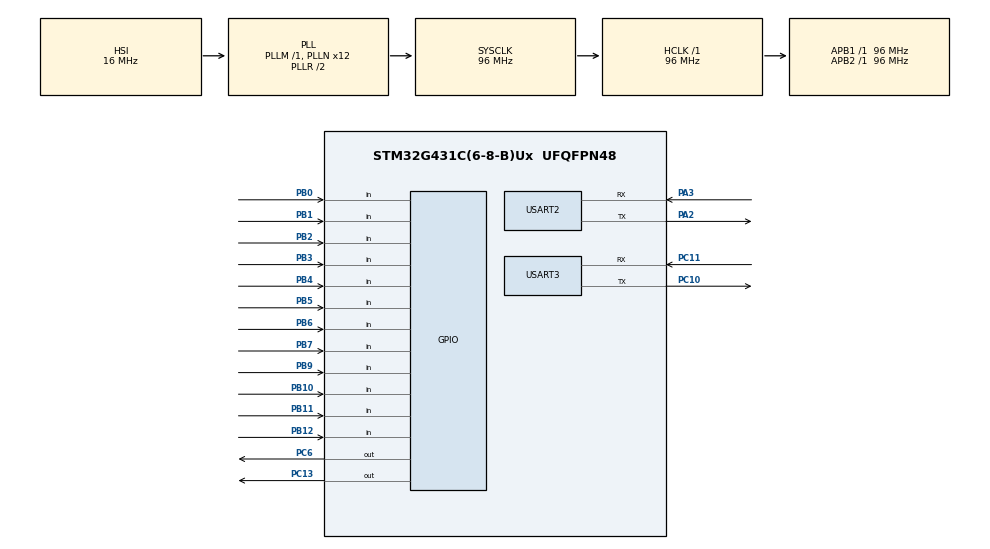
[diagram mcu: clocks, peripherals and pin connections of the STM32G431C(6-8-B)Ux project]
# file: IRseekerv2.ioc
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Mcu.Family=STM32G4
Mcu.Name=STM32G431C(6-8-B)Ux
Mcu.Package=UFQFPN48
NVIC.PriorityGroup=NVIC_PRIORITYGROUP_4
PA13.Mode=Serial_Wire
PA13.Signal=SYS_JTMS-SWDIO
PA14.Mode=Serial_Wire
PA14.Signal=SYS_JTCK-SWCLK
PA2.Mode=Asynchronous
PA2.Signal=USART2_TX
PA3.Mode=Asynchronous
PA3.Signal=USART2_RX
PB0.Signal=GPIO_Input
PB1.Signal=GPIO_Input
PB10.Signal=GPIO_Input
PB11.Signal=GPIO_Input
PB12.Signal=GPIO_Input
PB2.Signal=GPIO_Input
PB3.Signal=GPIO_Input
PB4.Signal=GPIO_Input
PB5.Signal=GPIO_Input
PB6.Signal=GPIO_Input
PB7.Signal=GPIO_Input
PB9.Signal=GPIO_Input
PC10.Mode=Asynchronous
PC10.Signal=USART3_TX
PC11.Mode=Asynchronous
PC11.Signal=USART3_RX
PC13.Signal=GPIO_Output
PC14-OSC32_IN.Mode=LSE-External-Oscillator
PC14-OSC32_IN.Signal=RCC_OSC32_IN
PC15-OSC32_OUT.Mode=LSE-External-Oscillator
PC15-OSC32_OUT.Signal=RCC_OSC32_OUT
PC6.Signal=GPIO_Output
PF0-OSC_IN.Mode=HSE-External-Oscillator
PF0-OSC_IN.Signal=RCC_OSC_IN
PF1-OSC_OUT.Mode=HSE-External-Oscillator
PF1-OSC_OUT.Signal=RCC_OSC_OUT
ProjectManager.HeapSize=0x200
ProjectManager.StackSize=0x400
ProjectManager.TargetToolchain=STM32CubeIDE
RCC.ADC12Freq_Value=96000000
RCC.AHBFreq_Value=96000000
RCC.APB1Freq_Value=96000000
RCC.APB1TimFreq_Value=96000000
RCC.APB2Freq_Value=96000000
RCC.APB2TimFreq_Value=96000000
RCC.CortexFreq_Value=96000000
RCC.EXTERNAL_CLOCK_VALUE=12288000
RCC.HCLKFreq_Value=96000000
RCC.HSE_VALUE=8000000
RCC.HSI48_VALUE=48000000
RCC.HSI_VALUE=16000000
RCC.PLLN=12
RCC.SYSCLKFreq_VALUE=96000000
RCC.SYSCLKSource=RCC_SYSCLKSOURCE_PLLCLK
RCC.USBFreq_Value=96000000
RCC.VCOOutputFreq_Value=192000000
TIM1.Prescaler=95
USART2.VirtualMode-Asynchronous=VM_ASYNC
USART3.VirtualMode-Asynchronous=VM_ASYNC
VP_TIM1_VS_ClockSourceINT.Mode=Internal
board=custom

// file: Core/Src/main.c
/* USER CODE BEGIN Header */
/**
  ******************************************************************************
  * @file           : main.c
  * @brief          : Main program body
  ******************************************************************************
  * @attention
  *
  * Copyright (c) 2023 STMicroelectronics.
  * All rights reserved.
  *
  * This software is licensed under terms that can be found in the LICENSE file
  * in the root directory of this software component.
  * If no LICENSE file comes with this software, it is provided AS-IS.
  *
  ******************************************************************************
  */
/* USER CODE END Header */
#include "main.h"

/* USER CODE BEGIN Includes */
#include "moving_average.h"
/* USER CODE END Includes */

/* USER CODE BEGIN PD */

#define NUM_READING 1000

/* USER CODE END PD */

TIM_HandleTypeDef htim1;

UART_HandleTypeDef huart2;
UART_HandleTypeDef huart3;

void SystemClock_Config(void);
static void MX_GPIO_Init(void);
static void MX_USART2_UART_Init(void);
static void MX_USART3_UART_Init(void);
static void MX_TIM1_Init(void);

/* USER CODE BEGIN 0 */
uint8_t result[1];
uint32_t inputs[12];

uint32_t masks[] = {
		  0, // 0
		  1, // 1
		  2, // 2
		  3, // 3
		  4, // 4
		  5, // 5
		  6, // 6
		  7, // 7
		  9, // 8
		  10,// 9
		  11,//10
		  12,//11
};

/*uint16_t idx=0;

uint16_t adc_readings[NUM_READING]={0};
uint16_t moving_average;*/

volatile uint32_t ADCValue = 0;
uint32_t ADCValueFiltered = 0;
FilterTypeDef filterStruct;

void reset_inputs(){
	for(int i=0;i<12;i++){
		inputs[i] = 0;
	}
}
void read_inputs(){

	uwTick = 0;

	while(uwTick <4){
		uint32_t value =  (GPIOB->IDR & 0b0001111011111111);

		for(int i=0;i<12;i++){

			inputs[i] += 1 - ((value & (1 << masks[i])) >> masks[i]);
		}
	}

}

uint8_t find_max(){

	uint8_t c = 0;
	uint32_t current_max = 0;
	for(uint8_t i=0;i<12;i++){

		if(inputs[i] > current_max){
			c = i+1;
			current_max = inputs[i];

		}
	}

	return c;
}

/*uint8_t calculate_average(uint8_t current_position) {
    uint16_t oldest_value = adc_readings[idx]; //grab the value we're about to overwrite
    uint16_t new_value = (uint16_t) current_position; //read whatever register you need to get the ADC reading
    moving_average = ((100 * moving_average) - oldest_value + new_value) / 100; //this is the shortcut trick!
    adc_readings[idx] = new_value;
    if (idx++ > NUM_READING){
    	idx = 0;
    }
    return (uint8_t) moving_average;
}
*/

/* USER CODE END 0 */

int main(void)
{
  /* USER CODE BEGIN 1 */
	/*for(int i = 0;i < NUM_READING; i ++){
		adc_readings[i] = 0;
	}*/
	Moving_Average_Init(&filterStruct);
  /* USER CODE END 1 */

  /* MCU Configuration--------------------------------------------------------*/

  /* Reset of all peripherals, Initializes the Flash interface and the Systick. */
  HAL_Init();

  /* Configure the system clock */
  SystemClock_Config();

  /* Initialize all configured peripherals */
  MX_GPIO_Init();
  MX_USART2_UART_Init();
  MX_USART3_UART_Init();
  MX_TIM1_Init();

  /* Infinite loop */
  /* USER CODE BEGIN WHILE */
  HAL_GPIO_WritePin(GPIOC, GPIO_PIN_6, GPIO_PIN_RESET);
  HAL_Delay(200);
  HAL_GPIO_WritePin(GPIOC, GPIO_PIN_6, GPIO_PIN_RESET);
  HAL_Delay(200);
  HAL_GPIO_WritePin(GPIOC, GPIO_PIN_6, GPIO_PIN_SET);
  HAL_Delay(200);
  uint32_t t = 0;
  for(int x = 0;x<12;x++){
	  t += 1 << masks[x];
  }
  while (1)
  {
	  	reset_inputs();
	  	read_inputs();

	  	//uint8_t current_average_position = calculate_average(current_position);
	  	uint8_t current_position = find_max();
	  	uint8_t current_average_position = (uint8_t)Moving_Average_Compute((uint32_t)current_position, &filterStruct);
	  	result[0] = current_average_position;
		//uint32_t value =  (HAL_GPIO_ReadPin(GPIOB, GPIO_PIN_0));// | (HAL_GPIO_ReadPin(GPIOA, GPIO_PIN_0) << 1);
		//GPIOA->IDR & 0b0000111111111111;
		//inputs = (value & 0b1);
		/*result[0] = inputs[0];
		if(inputs[0] == 0){
			HAL_GPIO_WritePin(GPIOC, GPIO_PIN_6, GPIO_PIN_RESET);
		}else{
			HAL_GPIO_WritePin(GPIOC, GPIO_PIN_6, GPIO_PIN_SET);
		}*/

		//result[1] = (value & 0x0000ff00) >> 8;
		//HAL_GPIO_TogglePin(GPIOC, GPIO_PIN_13);
	  	//uint32_t tmilis =  HAL_GetTick();//TIM1->CNT;
	  	HAL_UART_Transmit(&huart2,result,sizeof(result),10);// Sending in normal mode
    /* USER CODE END WHILE */

  }
}

void SystemClock_Config(void)
{
  RCC_OscInitTypeDef RCC_OscInitStruct = {0};
  RCC_ClkInitTypeDef RCC_ClkInitStruct = {0};

  /** Configure the main internal regulator output voltage
  */
  HAL_PWREx_ControlVoltageScaling(PWR_REGULATOR_VOLTAGE_SCALE1);

  /** Initializes the RCC Oscillators according to the specified parameters
  * in the RCC_OscInitTypeDef structure.
  */
  RCC_OscInitStruct.OscillatorType = RCC_OSCILLATORTYPE_HSI;
  RCC_OscInitStruct.HSIState = RCC_HSI_ON;
  RCC_OscInitStruct.HSICalibrationValue = RCC_HSICALIBRATION_DEFAULT;
  RCC_OscInitStruct.PLL.PLLState = RCC_PLL_ON;
  RCC_OscInitStruct.PLL.PLLSource = RCC_PLLSOURCE_HSI;
  RCC_OscInitStruct.PLL.PLLM = RCC_PLLM_DIV1;
  RCC_OscInitStruct.PLL.PLLN = 12;
  RCC_OscInitStruct.PLL.PLLP = RCC_PLLP_DIV2;
  RCC_OscInitStruct.PLL.PLLQ = RCC_PLLQ_DIV2;
  RCC_OscInitStruct.PLL.PLLR = RCC_PLLR_DIV2;
  if (HAL_RCC_OscConfig(&RCC_OscInitStruct) != HAL_OK)
  {
    Error_Handler();
  }

  /** Initializes the CPU, AHB and APB buses clocks
  */
  RCC_ClkInitStruct.ClockType = RCC_CLOCKTYPE_HCLK|RCC_CLOCKTYPE_SYSCLK
                              |RCC_CLOCKTYPE_PCLK1|RCC_CLOCKTYPE_PCLK2;
  RCC_ClkInitStruct.SYSCLKSource = RCC_SYSCLKSOURCE_PLLCLK;
  RCC_ClkInitStruct.AHBCLKDivider = RCC_SYSCLK_DIV1;
  RCC_ClkInitStruct.APB1CLKDivider = RCC_HCLK_DIV1;
  RCC_ClkInitStruct.APB2CLKDivider = RCC_HCLK_DIV1;

  if (HAL_RCC_ClockConfig(&RCC_ClkInitStruct, FLASH_LATENCY_3) != HAL_OK)
  {
    Error_Handler();
  }
}

static void MX_TIM1_Init(void)
{

  TIM_ClockConfigTypeDef sClockSourceConfig = {0};
  TIM_MasterConfigTypeDef sMasterConfig = {0};

  htim1.Instance = TIM1;
  htim1.Init.Prescaler = 95;
  htim1.Init.CounterMode = TIM_COUNTERMODE_UP;
  htim1.Init.Period = 65535;
  htim1.Init.ClockDivision = TIM_CLOCKDIVISION_DIV1;
  htim1.Init.RepetitionCounter = 0;
  htim1.Init.AutoReloadPreload = TIM_AUTORELOAD_PRELOAD_DISABLE;
  if (HAL_TIM_Base_Init(&htim1) != HAL_OK)
  {
    Error_Handler();
  }
  sClockSourceConfig.ClockSource = TIM_CLOCKSOURCE_INTERNAL;
  if (HAL_TIM_ConfigClockSource(&htim1, &sClockSourceConfig) != HAL_OK)
  {
    Error_Handler();
  }
  sMasterConfig.MasterOutputTrigger = TIM_TRGO_RESET;
  sMasterConfig.MasterOutputTrigger2 = TIM_TRGO2_RESET;
  sMasterConfig.MasterSlaveMode = TIM_MASTERSLAVEMODE_DISABLE;
  if (HAL_TIMEx_MasterConfigSynchronization(&htim1, &sMasterConfig) != HAL_OK)
  {
    Error_Handler();
  }

}

static void MX_USART2_UART_Init(void)
{

  huart2.Instance = USART2;
  huart2.Init.BaudRate = 115200;
  huart2.Init.WordLength = UART_WORDLENGTH_8B;
  huart2.Init.StopBits = UART_STOPBITS_1;
  huart2.Init.Parity = UART_PARITY_NONE;
  huart2.Init.Mode = UART_MODE_TX_RX;
  huart2.Init.HwFlowCtl = UART_HWCONTROL_NONE;
  huart2.Init.OverSampling = UART_OVERSAMPLING_16;
  huart2.Init.OneBitSampling = UART_ONE_BIT_SAMPLE_DISABLE;
  huart2.Init.ClockPrescaler = UART_PRESCALER_DIV1;
  huart2.AdvancedInit.AdvFeatureInit = UART_ADVFEATURE_NO_INIT;
  if (HAL_UART_Init(&huart2) != HAL_OK)
  {
    Error_Handler();
  }
  if (HAL_UARTEx_SetTxFifoThreshold(&huart2, UART_TXFIFO_THRESHOLD_1_8) != HAL_OK)
  {
    Error_Handler();
  }
  if (HAL_UARTEx_SetRxFifoThreshold(&huart2, UART_RXFIFO_THRESHOLD_1_8) != HAL_OK)
  {
    Error_Handler();
  }
  if (HAL_UARTEx_DisableFifoMode(&huart2) != HAL_OK)
  {
    Error_Handler();
  }

}

static void MX_USART3_UART_Init(void)
{

  huart3.Instance = USART3;
  huart3.Init.BaudRate = 115200;
  huart3.Init.WordLength = UART_WORDLENGTH_8B;
  huart3.Init.StopBits = UART_STOPBITS_1;
  huart3.Init.Parity = UART_PARITY_NONE;
  huart3.Init.Mode = UART_MODE_TX_RX;
  huart3.Init.HwFlowCtl = UART_HWCONTROL_NONE;
  huart3.Init.OverSampling = UART_OVERSAMPLING_16;
  huart3.Init.OneBitSampling = UART_ONE_BIT_SAMPLE_DISABLE;
  huart3.Init.ClockPrescaler = UART_PRESCALER_DIV1;
  huart3.AdvancedInit.AdvFeatureInit = UART_ADVFEATURE_NO_INIT;
  if (HAL_UART_Init(&huart3) != HAL_OK)
  {
    Error_Handler();
  }
  if (HAL_UARTEx_SetTxFifoThreshold(&huart3, UART_TXFIFO_THRESHOLD_1_8) != HAL_OK)
  {
    Error_Handler();
  }
  if (HAL_UARTEx_SetRxFifoThreshold(&huart3, UART_RXFIFO_THRESHOLD_1_8) != HAL_OK)
  {
    Error_Handler();
  }
  if (HAL_UARTEx_DisableFifoMode(&huart3) != HAL_OK)
  {
    Error_Handler();
  }

}

static void MX_GPIO_Init(void)
{
  GPIO_InitTypeDef GPIO_InitStruct = {0};

  /* GPIO Ports Clock Enable */
  __HAL_RCC_GPIOC_CLK_ENABLE();
  __HAL_RCC_GPIOF_CLK_ENABLE();
  __HAL_RCC_GPIOA_CLK_ENABLE();
  __HAL_RCC_GPIOB_CLK_ENABLE();

  /*Configure GPIO pin Output Level */
  HAL_GPIO_WritePin(GPIOC, GPIO_PIN_13|GPIO_PIN_6, GPIO_PIN_RESET);

  /*Configure GPIO pins : PC13 PC6 */
  GPIO_InitStruct.Pin = GPIO_PIN_13|GPIO_PIN_6;
  GPIO_InitStruct.Mode = GPIO_MODE_OUTPUT_PP;
  GPIO_InitStruct.Pull = GPIO_NOPULL;
  GPIO_InitStruct.Speed = GPIO_SPEED_FREQ_LOW;
  HAL_GPIO_Init(GPIOC, &GPIO_InitStruct);

  /*Configure GPIO pins : PB0 PB1 PB2 PB10
                           PB11 PB12 PB3 PB4
                           PB5 PB6 PB7 PB9 */
  GPIO_InitStruct.Pin = GPIO_PIN_0|GPIO_PIN_1|GPIO_PIN_2|GPIO_PIN_10
                          |GPIO_PIN_11|GPIO_PIN_12|GPIO_PIN_3|GPIO_PIN_4
                          |GPIO_PIN_5|GPIO_PIN_6|GPIO_PIN_7|GPIO_PIN_9;
  GPIO_InitStruct.Mode = GPIO_MODE_INPUT;
  GPIO_InitStruct.Pull = GPIO_NOPULL;
  HAL_GPIO_Init(GPIOB, &GPIO_InitStruct);

}

void Error_Handler(void)
{
  __disable_irq();
  while (1)
  {
  }
}
